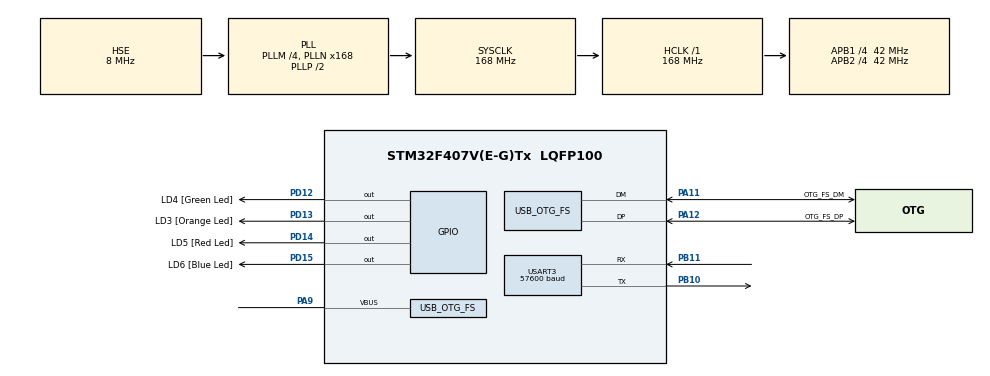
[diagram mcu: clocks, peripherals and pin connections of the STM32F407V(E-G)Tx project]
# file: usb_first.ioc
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Mcu.Family=STM32F4
Mcu.Name=STM32F407V(E-G)Tx
Mcu.Package=LQFP100
NVIC.OTG_FS_IRQn=true\:0\:0\:false\:false\:true\:false\:true
NVIC.PriorityGroup=NVIC_PRIORITYGROUP_0
PA11.GPIO_Label=OTG_FS_DM
PA11.GPIO_Mode=GPIO_MODE_AF_PP
PA11.GPIO_PuPd=GPIO_NOPULL
PA11.GPIO_Speed=GPIO_SPEED_FREQ_LOW
PA11.Mode=Device_Only
PA11.Signal=USB_OTG_FS_DM
PA12.GPIO_Label=OTG_FS_DP
PA12.GPIO_Mode=GPIO_MODE_AF_PP
PA12.GPIO_PuPd=GPIO_NOPULL
PA12.GPIO_Speed=GPIO_SPEED_FREQ_LOW
PA12.Mode=Device_Only
PA12.Signal=USB_OTG_FS_DP
PA9.Mode=Activate_VBUS
PA9.Signal=USB_OTG_FS_VBUS
PB10.Mode=Asynchronous
PB10.Signal=USART3_TX
PB11.Mode=Asynchronous
PB11.Signal=USART3_RX
PD12.GPIO_Label=LD4 [Green Led]
PD12.GPIO_PuPd=GPIO_NOPULL
PD12.GPIO_Speed=GPIO_SPEED_FREQ_LOW
PD12.Signal=GPIO_Output
PD13.GPIO_Label=LD3 [Orange Led]
PD13.GPIO_PuPd=GPIO_NOPULL
PD13.GPIO_Speed=GPIO_SPEED_FREQ_LOW
PD13.Signal=GPIO_Output
PD14.GPIO_Label=LD5 [Red Led]
PD14.GPIO_PuPd=GPIO_NOPULL
PD14.GPIO_Speed=GPIO_SPEED_FREQ_LOW
PD14.Signal=GPIO_Output
PD15.GPIO_Label=LD6 [Blue Led]
PD15.GPIO_PuPd=GPIO_NOPULL
PD15.GPIO_Speed=GPIO_SPEED_FREQ_LOW
PD15.Signal=GPIO_Output
PH0-OSC_IN.Mode=HSE-External-Oscillator
PH0-OSC_IN.Signal=RCC_OSC_IN
PH1-OSC_OUT.Mode=HSE-External-Oscillator
PH1-OSC_OUT.Signal=RCC_OSC_OUT
ProjectManager.HeapSize=0x400
ProjectManager.StackSize=0x400
ProjectManager.TargetToolchain=STM32CubeIDE
RCC.48MHZClocksFreq_Value=48000000
RCC.AHBFreq_Value=168000000
RCC.APB1CLKDivider=RCC_HCLK_DIV4
RCC.APB1Freq_Value=42000000
RCC.APB1TimFreq_Value=84000000
RCC.APB2CLKDivider=RCC_HCLK_DIV4
RCC.APB2Freq_Value=42000000
RCC.APB2TimFreq_Value=84000000
RCC.CortexFreq_Value=168000000
RCC.HCLKFreq_Value=168000000
RCC.HSE_VALUE=8000000
RCC.HSI_VALUE=16000000
RCC.LSE_VALUE=32768
RCC.PLLM=4
RCC.PLLN=168
RCC.PLLQ=7
RCC.SYSCLKFreq_VALUE=168000000
RCC.SYSCLKSource=RCC_SYSCLKSOURCE_PLLCLK
RCC.VCOOutputFreq_Value=336000000
USART3.BaudRate=57600
USART3.VirtualMode=VM_ASYNC
USB_DEVICE.CLASS_NAME_FS=CDC
USB_DEVICE.VirtualMode-CDC_FS=Cdc
USB_DEVICE.VirtualModeFS=Cdc_FS
USB_OTG_FS.VirtualMode=Device_Only
VP_USB_DEVICE_VS_USB_DEVICE_CDC_FS.Mode=CDC_FS
board=STM32F407G-DISC1

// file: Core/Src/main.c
/* USER CODE BEGIN Header */
/**
  ******************************************************************************
  * @file           : main.c
  * @brief          : Main program body
  ******************************************************************************
  * @attention
  *
  * <h2><center>&copy; Copyright (c) 2020 STMicroelectronics.
  * All rights reserved.</center></h2>
  *
  * This software component is licensed by ST under BSD 3-Clause license,
  * the "License"; You may not use this file except in compliance with the
  * License. You may obtain a copy of the License at:
  *                        opensource.org/licenses/BSD-3-Clause
  *
  ******************************************************************************
  */
/* USER CODE END Header */

#include "main.h"
#include "usb_device.h"

/* USER CODE BEGIN Includes */
#include "stm32f4xx_hal.h"
#include "usbd_cdc_if.h"
/*обязательно в файл usbd_cdc_if.с в раздел "USER CODE BEGIN PRIVATE_FUNCTIONS_DECLARATION" добавить прототип ф-и: uint8_t CDC_Transmit_FS(uint8_t* Buf, uint16_t Len)*/
/* USER CODE END Includes */

UART_HandleTypeDef huart3;

/* USER CODE BEGIN PV */
uint16_t delay_time = 0;
uint8_t countn; //счётчик
char message_tx [20];
char message_rx [20];
/* USER CODE END PV */

void SystemClock_Config(void);
static void MX_GPIO_Init(void);
static void MX_USART3_UART_Init(void);

int main(void)
{

  /* MCU Configuration--------------------------------------------------------*/

  /* Reset of all peripherals, Initializes the Flash interface and the Systick. */
  HAL_Init();

  /* Configure the system clock */
  SystemClock_Config();

  /* Initialize all configured peripherals */
  MX_GPIO_Init();
  MX_USART3_UART_Init();
  MX_USB_DEVICE_Init();

  /* Infinite loop */
  while (1)
  	  {

    /* USER CODE BEGIN 3 */
	HAL_Delay (PERIOD);
	if (countn > 3)
		countn = 0;
	if(*message_rx != '\0') //проверяем буффер приёма, приём с помощью ф-и CDC_Receive_FS в прерывании
		{
		//передаём хосту полученные от него же данные
		CDC_Transmit_FS((unsigned char*)message_rx, strlen(message_rx)); //strlen(message_rx) - количество элементов массива до знака \0;
		memset(message_rx, '\0', sizeof(message_rx)); //очищаем буфер приёма
		}
	else
		{
		switch (countn)
			{
				case 0:
					countn++;
					HAL_GPIO_WritePin(GPIOD, GPIO_PIN_15, GPIO_PIN_RESET);
					HAL_GPIO_WritePin(GPIOD, GPIO_PIN_12, GPIO_PIN_SET);
					sprintf (message_tx, "led_1\r\n");
					CDC_Transmit_FS((unsigned char*)message_tx, strlen(message_tx)); //usbd_cdc_if.h
					HAL_UART_Transmit (&huart3, (unsigned char*)message_tx, 8, 0xFFFF);
					break;
				case 1:
					countn++;
					HAL_GPIO_WritePin(GPIOD, GPIO_PIN_12, GPIO_PIN_RESET);
					HAL_GPIO_WritePin(GPIOD, GPIO_PIN_13, GPIO_PIN_SET);
					sprintf (message_tx, "led_2\r\n");
					CDC_Transmit_FS((unsigned char*)message_tx, strlen(message_tx));
					HAL_UART_Transmit (&huart3, (unsigned char*)message_tx, 8, 0xFFFF); //чтобы не было warningов
					break;
				case 2:
					countn++;
					HAL_GPIO_WritePin(GPIOD, GPIO_PIN_13, GPIO_PIN_RESET);
					HAL_GPIO_WritePin(GPIOD, GPIO_PIN_14, GPIO_PIN_SET);
					sprintf (message_tx, "led_3\r\n");
					CDC_Transmit_FS((unsigned char*)message_tx, strlen(message_tx));
					HAL_UART_Transmit (&huart3, (unsigned char*)message_tx, 8, 0xFFFF);
					break;
				case 3:
					countn++;
					HAL_GPIO_WritePin(GPIOD, GPIO_PIN_14, GPIO_PIN_RESET);
					HAL_GPIO_WritePin(GPIOD, GPIO_PIN_15, GPIO_PIN_SET);
					sprintf (message_tx, "led_4\r\n");
					CDC_Transmit_FS((unsigned char*)message_tx, strlen(message_tx));
					HAL_UART_Transmit (&huart3, (unsigned char*)message_tx, 8, 0xFFFF);
					break;
				default: break;
			}
		}
  	  }
  /* USER CODE END 3 */
}

void SystemClock_Config(void)
{
  RCC_OscInitTypeDef RCC_OscInitStruct = {0};
  RCC_ClkInitTypeDef RCC_ClkInitStruct = {0};

  /** Configure the main internal regulator output voltage
  */
  __HAL_RCC_PWR_CLK_ENABLE();
  __HAL_PWR_VOLTAGESCALING_CONFIG(PWR_REGULATOR_VOLTAGE_SCALE1);
  /** Initializes the CPU, AHB and APB busses clocks
  */
  RCC_OscInitStruct.OscillatorType = RCC_OSCILLATORTYPE_HSE;
  RCC_OscInitStruct.HSEState = RCC_HSE_ON;
  RCC_OscInitStruct.PLL.PLLState = RCC_PLL_ON;
  RCC_OscInitStruct.PLL.PLLSource = RCC_PLLSOURCE_HSE;
  RCC_OscInitStruct.PLL.PLLM = 4;
  RCC_OscInitStruct.PLL.PLLN = 168;
  RCC_OscInitStruct.PLL.PLLP = RCC_PLLP_DIV2;
  RCC_OscInitStruct.PLL.PLLQ = 7;
  if (HAL_RCC_OscConfig(&RCC_OscInitStruct) != HAL_OK)
  {
    Error_Handler();
  }
  /** Initializes the CPU, AHB and APB busses clocks
  */
  RCC_ClkInitStruct.ClockType = RCC_CLOCKTYPE_HCLK|RCC_CLOCKTYPE_SYSCLK
                              |RCC_CLOCKTYPE_PCLK1|RCC_CLOCKTYPE_PCLK2;
  RCC_ClkInitStruct.SYSCLKSource = RCC_SYSCLKSOURCE_PLLCLK;
  RCC_ClkInitStruct.AHBCLKDivider = RCC_SYSCLK_DIV1;
  RCC_ClkInitStruct.APB1CLKDivider = RCC_HCLK_DIV4;
  RCC_ClkInitStruct.APB2CLKDivider = RCC_HCLK_DIV4;

  if (HAL_RCC_ClockConfig(&RCC_ClkInitStruct, FLASH_LATENCY_5) != HAL_OK)
  {
    Error_Handler();
  }
}

static void MX_USART3_UART_Init(void)
{

  huart3.Instance = USART3;
  huart3.Init.BaudRate = 57600;
  huart3.Init.WordLength = UART_WORDLENGTH_8B;
  huart3.Init.StopBits = UART_STOPBITS_1;
  huart3.Init.Parity = UART_PARITY_NONE;
  huart3.Init.Mode = UART_MODE_TX_RX;
  huart3.Init.HwFlowCtl = UART_HWCONTROL_NONE;
  huart3.Init.OverSampling = UART_OVERSAMPLING_16;
  if (HAL_UART_Init(&huart3) != HAL_OK)
  {
    Error_Handler();
  }

}

static void MX_GPIO_Init(void)
{
  GPIO_InitTypeDef GPIO_InitStruct = {0};

  /* GPIO Ports Clock Enable */
  __HAL_RCC_GPIOH_CLK_ENABLE();
  __HAL_RCC_GPIOB_CLK_ENABLE();
  __HAL_RCC_GPIOD_CLK_ENABLE();
  __HAL_RCC_GPIOA_CLK_ENABLE();

  /*Configure GPIO pin Output Level */
  HAL_GPIO_WritePin(GPIOD, LD4_Pin|LD3_Pin|LD5_Pin|LD6_Pin, GPIO_PIN_RESET);

  /*Configure GPIO pins : LD4_Pin LD3_Pin LD5_Pin LD6_Pin */
  GPIO_InitStruct.Pin = LD4_Pin|LD3_Pin|LD5_Pin|LD6_Pin;
  GPIO_InitStruct.Mode = GPIO_MODE_OUTPUT_PP;
  GPIO_InitStruct.Pull = GPIO_NOPULL;
  GPIO_InitStruct.Speed = GPIO_SPEED_FREQ_LOW;
  HAL_GPIO_Init(GPIOD, &GPIO_InitStruct);

}

void Error_Handler(void)
{
}

/************************ (C) COPYRIGHT STMicroelectronics *****END OF FILE****/
